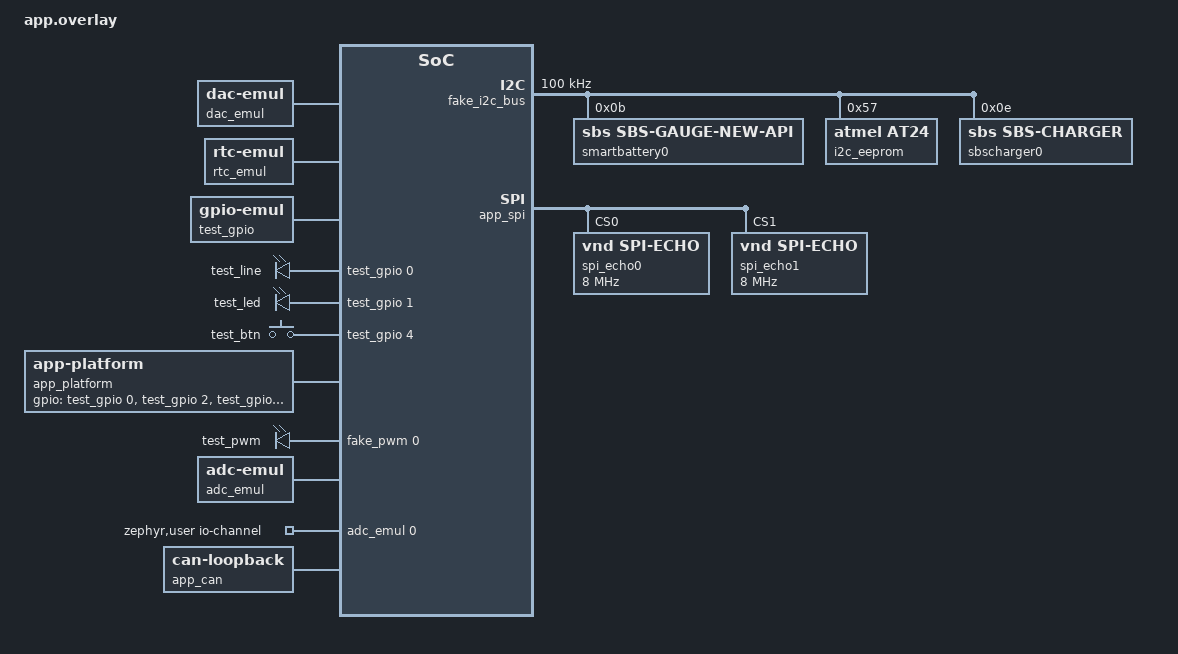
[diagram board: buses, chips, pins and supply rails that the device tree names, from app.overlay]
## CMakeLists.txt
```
# SPDX-License-Identifier: Apache-2.0

cmake_minimum_required(VERSION 3.20.0)
find_package(Zephyr REQUIRED HINTS $ENV{ZEPHYR_BASE})
project(app_platform_devices)

target_sources(app PRIVATE src/main.c src/display_capture.c src/locked_svc.c src/spi_echo.c)
target_include_directories(app PRIVATE ${ZEPHYR_BASE}/subsys/app_platform)
```

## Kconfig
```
# Copyright (c) 2026 Espressif Systems (Shanghai) Co., Ltd.
# SPDX-License-Identifier: Apache-2.0

config APP_PLATFORM_TEST_FAULT_POINTS
	default y

source "Kconfig.zephyr"
```

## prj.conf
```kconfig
CONFIG_ZTEST=y
CONFIG_USERSPACE=y
CONFIG_TASK_WDT=y
CONFIG_LOG=y
CONFIG_HEAP_MEM_POOL_SIZE=16384
CONFIG_MAIN_STACK_SIZE=4096
CONFIG_ZTEST_STACK_SIZE=4096

CONFIG_APP_PLATFORM=y
CONFIG_APP_PLATFORM_MAX_APPS=4
CONFIG_APP_PLATFORM_SERVICES=y

CONFIG_I2C=y
CONFIG_I2C_EMUL=y
CONFIG_EMUL=y
CONFIG_EEPROM=y
CONFIG_EEPROM_AT24=y
CONFIG_EEPROM_AT2X_EMUL=y
CONFIG_EEPROM_INIT_PRIORITY=75
CONFIG_DAC=y
CONFIG_RTC=y
CONFIG_REGULATOR=y
CONFIG_STEPPER=y
CONFIG_CHARGER=y
CONFIG_FUEL_GAUGE=y
CONFIG_GPIO=y
CONFIG_PWM=y
CONFIG_ADC=y
CONFIG_SENSOR=y
CONFIG_LED_STRIP=y
CONFIG_DISPLAY=y
# The capture display replaces the board's ramfb, so QEMU needs no window.
CONFIG_QEMU_RAMFB_DISPLAY=n
CONFIG_QEMU_EXTRA_FLAGS="-display none"

CONFIG_APP_PLATFORM_EEPROM=y
CONFIG_APP_PLATFORM_DAC=y
CONFIG_APP_PLATFORM_RTC=y
CONFIG_APP_PLATFORM_REGULATOR=y
CONFIG_APP_PLATFORM_STEPPER=y
CONFIG_APP_PLATFORM_POWER=y
CONFIG_APP_PLATFORM_GPIO=y
CONFIG_APP_PLATFORM_IO=y
CONFIG_APP_PLATFORM_EVENTS=y
CONFIG_APP_PLATFORM_PERIPH=y
CONFIG_APP_PLATFORM_MOTION=y
CONFIG_APP_PLATFORM_RGB=y
CONFIG_APP_PLATFORM_DISPLAY=y
CONFIG_SERIAL=y
CONFIG_UART_EMUL=y
CONFIG_UART_USE_RUNTIME_CONFIGURE=y
CONFIG_UART_INTERRUPT_DRIVEN=y
CONFIG_SPI=y
CONFIG_SPI_EMUL=y
CONFIG_APP_PLATFORM_BUS=y
CONFIG_CAN=y
CONFIG_APP_PLATFORM_CAN=y
CONFIG_APP_PLATFORM_CAN_LOOPBACK=y
CONFIG_APP_PLATFORM_DISPLAY_XFER_MAX=256
CONFIG_SHARED_MULTI_HEAP=y
CONFIG_APP_PLATFORM_PSRAM=y

CONFIG_FLASH=y
CONFIG_FLASH_MAP=y
CONFIG_FLASH_SIMULATOR=y
CONFIG_FILE_SYSTEM=y
CONFIG_FILE_SYSTEM_LITTLEFS=y
CONFIG_APP_PLATFORM_FS=y
CONFIG_APPLICATION_DEFINED_SYSCALL=y
```

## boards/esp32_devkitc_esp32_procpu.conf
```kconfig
# The ESP32 UART driver has no asynchronous API for the WS2812 backend.
CONFIG_LED_STRIP=n
CONFIG_APP_PLATFORM_RGB=n
```

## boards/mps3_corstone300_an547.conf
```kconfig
CONFIG_SPI_PL022=n
```

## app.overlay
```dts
/*
 * Copyright (c) 2026 Espressif Systems (Shanghai) Co., Ltd.
 *
 * SPDX-License-Identifier: Apache-2.0
 */

/* Emulated devices for the index-keyed device services. Real silicon for these
 * classes is rare on one board, so the suite drives emulated instances and
 * checks the platform's own behaviour: the capability gate, the per-instance
 * grant and the window arithmetic.
 */

#include <zephyr/dt-bindings/i2c/i2c.h>
#include <zephyr/dt-bindings/gpio/gpio.h>
#include <zephyr/dt-bindings/pwm/pwm.h>
#include <zephyr/dt-bindings/led/led.h>
#include <zephyr/dt-bindings/adc/adc.h>

/ {
	dac_emul: dac_emul {
		compatible = "zephyr,dac-emul";
		nchannels = <2>;
		#io-channel-cells = <1>;
		status = "okay";
	};

	rtc_emul: rtc_emul {
		compatible = "zephyr,rtc-emul";
		status = "okay";
	};

	fake_regulator: fake_regulator {
		compatible = "zephyr,fake-regulator";

		fake_reg0: FAKEREG0 {};
	};

	fake_stepper: fake-stepper-controller {
		compatible = "zephyr,fake-stepper-ctrl";
		status = "okay";
	};

	test_gpio: test_gpio {
		compatible = "zephyr,gpio-emul";
		gpio-controller;
		#gpio-cells = <2>;
		ngpios = <8>;
		rising-edge;
		falling-edge;
		high-level;
		low-level;
		status = "okay";
	};

	leds {
		compatible = "gpio-leds";

		test_line: test_line {
			gpios = <&test_gpio 0 GPIO_ACTIVE_HIGH>;
		};

		test_led: test_led {
			gpios = <&test_gpio 1 GPIO_ACTIVE_HIGH>;
		};
	};

	buttons {
		compatible = "gpio-keys";

		test_btn: test_btn {
			gpios = <&test_gpio 4 GPIO_ACTIVE_HIGH>;
		};
	};

	app_platform {
		compatible = "zephyr,app-platform";
		gpios = <&test_gpio 0 GPIO_ACTIVE_HIGH>, <&test_gpio 2 GPIO_ACTIVE_HIGH>,
			<&test_gpio 3 GPIO_ACTIVE_LOW>;
		line-names = "test_line", "test_in", "test_low";
		dacs = <&dac_emul>;
		regulators = <&fake_reg0>;
		steppers = <&fake_stepper>;
	};

	fake_pwm: fake_pwm {
		compatible = "zephyr,fake-pwm";
		#pwm-cells = <2>;
		frequency = <1000000>;
		status = "okay";
	};

	/* Stands in for the motor-control PWM the motor service looks up. */
	mcpwm0: fake_mcpwm {
		compatible = "zephyr,fake-pwm";
		#pwm-cells = <2>;
		frequency = <1000000>;
		status = "okay";
	};

	pwmleds {
		compatible = "pwm-leds";

		test_pwm: test_pwm {
			pwms = <&fake_pwm 0 PWM_MSEC(1)>;
		};
	};

	/* Captures the frames the WS2812 driver writes to the strip. */
	strip_uart: strip_uart {
		compatible = "vnd,serial";
		current-speed = <2500000>;
		data-bits = <7>;
		tx-invert;
		buffer-size = <1024>;
		status = "okay";

		test_strip: ws2812 {
			compatible = "worldsemi,ws2812-uart";
			one-symbol = <6>;
			zero-symbol = <4>;
			bits-per-symbol = <3>;
			chain-length = <2>;
			reset-delay = <50>;
			color-mapping = <LED_COLOR_ID_GREEN
					 LED_COLOR_ID_RED
					 LED_COLOR_ID_BLUE>;
			status = "okay";
		};
	};

	capture_display: capture_display {
		compatible = "vnd,display-capture";
		width = <160>;
		height = <24>;
		status = "okay";
	};

	adc_emul: adc_emul {
		compatible = "zephyr,adc-emul";
		nchannels = <1>;
		ref-internal-mv = <3300>;
		#io-channel-cells = <1>;
		#address-cells = <1>;
		#size-cells = <0>;
		status = "okay";

		channel@0 {
			reg = <0>;
			zephyr,gain = "ADC_GAIN_1";
			zephyr,reference = "ADC_REF_INTERNAL";
			zephyr,acquisition-time = <ADC_ACQ_TIME_DEFAULT>;
			zephyr,resolution = <12>;
		};
	};

	zephyr,user {
		io-channels = <&adc_emul 0>;
	};

	aliases {
		led0 = &test_led;
		sw0 = &test_btn;
		app-pwm0 = &test_pwm;
		led-strip = &test_strip;
		app-i2c = &fake_i2c_bus;
		app-spi = &app_spi;
	};

	fake_i2c_bus: i2c@100 {
		status = "okay";
		compatible = "zephyr,i2c-emul-controller";
		clock-frequency = <I2C_BITRATE_STANDARD>;
		#address-cells = <1>;
		#size-cells = <0>;
		reg = <0x100 4>;

		smartbattery0: smartbattery@b {
			compatible = "sbs,sbs-gauge-new-api";
			reg = <0x0b>;
			status = "okay";
		};

		i2c_eeprom: eeprom@57 {
			compatible = "atmel,at24";
			reg = <0x57>;
			size = <256>;
			pagesize = <8>;
			address-width = <8>;
			timeout = <5>;
			status = "okay";
		};

		sbscharger0: sbscharger@e {
			compatible = "sbs,sbs-charger";
			reg = <0x0e>;
			status = "okay";
		};
	};

	app_uart: app_uart {
		compatible = "zephyr,uart-emul";
		current-speed = <115200>;
		status = "okay";
	};

	app_spi: spi@200 {
		compatible = "zephyr,spi-emul-controller";
		reg = <0x200 4>;
		#address-cells = <1>;
		#size-cells = <0>;
		status = "okay";

		spi_echo0: echo@0 {
			compatible = "vnd,spi-echo";
			reg = <0>;
			spi-max-frequency = <8000000>;
		};

		spi_echo1: echo@1 {
			compatible = "vnd,spi-echo";
			reg = <1>;
			spi-max-frequency = <8000000>;
		};
	};

	app_can: can_loopback {
		compatible = "zephyr,can-loopback";
		status = "okay";
	};

	chosen {
		zephyr,canbus = &app_can;
		app,uart = &app_uart;
		zephyr,eeprom = &i2c_eeprom;
		zephyr,rtc = &rtc_emul;
		zephyr,fuel-gauge = &smartbattery0;
		zephyr,charger = &sbscharger0;
		zephyr,display = &capture_display;
	};
};
```

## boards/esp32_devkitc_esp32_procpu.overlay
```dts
/*
 * Copyright (c) 2026 Espressif Systems (Shanghai) Co., Ltd.
 *
 * SPDX-License-Identifier: Apache-2.0
 */

/* The suite stands in its own motor-control PWM for the SoC one. */
/delete-node/ &mcpwm0;

#include "../app.overlay"

/* The WS2812 UART backend needs the asynchronous UART API, which the ESP32
 * UART driver does not support.
 */
/delete-node/ &strip_uart;

/ {
	aliases {
		/delete-property/ led-strip;
	};
};
```

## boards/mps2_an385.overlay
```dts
/*
 * Copyright (c) 2026 Espressif Systems (Shanghai) Co., Ltd.
 *
 * SPDX-License-Identifier: Apache-2.0
 */

#include "../app.overlay"
```

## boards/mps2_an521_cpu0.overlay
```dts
/*
 * Copyright (c) 2026 Espressif Systems (Shanghai) Co., Ltd.
 *
 * SPDX-License-Identifier: Apache-2.0
 */

#include <mem.h>
#include "../app.overlay"
#include "sim_flash.dtsi"
```

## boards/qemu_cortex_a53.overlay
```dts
/*
 * Copyright (c) 2026 Espressif Systems (Shanghai) Co., Ltd.
 *
 * SPDX-License-Identifier: Apache-2.0
 */

#include <mem.h>
#include "../app.overlay"
#include "sim_flash.dtsi"

/* The root node has two address cells here. */
&fake_i2c_bus {
	reg = <0x0 0x100 0x0 0x4>;
};

&app_spi {
	reg = <0x0 0x200 0x0 0x4>;
};
```

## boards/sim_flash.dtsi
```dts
/*
 * Copyright (c) 2026 Espressif Systems (Shanghai) Co., Ltd.
 *
 * SPDX-License-Identifier: Apache-2.0
 */

/* A RAM-backed flash with the storage partition, for boards that have none. */
/ {
	app_sim_flash: app_sim_flash {
		compatible = "zephyr,sim-flash";
		#address-cells = <1>;
		#size-cells = <1>;
		erase-value = <0xff>;

		flash_sim@0 {
			compatible = "soc-nv-flash";
			reg = <0x00000000 DT_SIZE_K(256)>;
			erase-block-size = <1024>;
			write-block-size = <4>;

			partitions {
				ranges;
				#address-cells = <1>;
				#size-cells = <1>;

				storage_partition: partition@0 {
					compatible = "zephyr,mapped-partition";
					label = "storage";
					reg = <0x00000000 DT_SIZE_K(256)>;
				};
			};
		};
	};
};
```

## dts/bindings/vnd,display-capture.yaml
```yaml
# Copyright (c) 2026 Espressif Systems (Shanghai) Co., Ltd.
# SPDX-License-Identifier: Apache-2.0

description: RGB565 display that keeps its frame in RAM for the test to inspect

compatible: "vnd,display-capture"

include: display-controller.yaml
```

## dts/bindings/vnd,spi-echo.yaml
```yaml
# Copyright (c) 2026 Espressif Systems (Shanghai) Co., Ltd.
# SPDX-License-Identifier: Apache-2.0

description: SPI device that echoes what it receives and keeps the last configuration

compatible: "vnd,spi-echo"

include: spi-device.yaml
```

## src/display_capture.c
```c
/*
 * Copyright (c) 2026 Espressif Systems (Shanghai) Co., Ltd.
 *
 * SPDX-License-Identifier: Apache-2.0
 */

/* A display that keeps its RGB565 frame in RAM, so the test can read back what
 * the display service wrote, count the driver calls it made and report
 * refreshes when it chooses.
 */

#define DT_DRV_COMPAT vnd_display_capture

#include <zephyr/device.h>
#include <zephyr/drivers/display.h>
#include <errno.h>
#include <string.h>

#include "display_capture.h"

uint16_t capture_fb[CAPTURE_H][CAPTURE_W];
uint32_t capture_writes;

static display_event_cb_t capture_cb;
static void *capture_user_data;

static int capture_write(const struct device *dev, const uint16_t x, const uint16_t y,
			 const struct display_buffer_descriptor *desc, const void *buf)
{
	const uint16_t *src = buf;

	ARG_UNUSED(dev);

	if ((uint32_t)x + desc->width > CAPTURE_W || (uint32_t)y + desc->height > CAPTURE_H ||
	    desc->pitch < desc->width) {
		return -EINVAL;
	}
	for (uint16_t r = 0U; r < desc->height; r++) {
		memcpy(&capture_fb[y + r][x], &src[r * desc->pitch],
		       desc->width * sizeof(uint16_t));
	}
	capture_writes++;
	return 0;
}

static void capture_get_capabilities(const struct device *dev, struct display_capabilities *caps)
{
	ARG_UNUSED(dev);

	caps->x_resolution = CAPTURE_W;
	caps->y_resolution = CAPTURE_H;
	caps->supported_pixel_formats = PIXEL_FORMAT_RGB_565;
	caps->current_pixel_format = PIXEL_FORMAT_RGB_565;
	caps->supported_events = DISPLAY_EVENT_VSYNC;
}

static int capture_register_event_cb(const struct device *dev, display_event_cb_t cb,
				     void *user_data, uint32_t event_mask, bool in_isr,
				     uint32_t *out_reg_handle)
{
	ARG_UNUSED(dev);
	ARG_UNUSED(event_mask);
	ARG_UNUSED(in_isr);

	capture_cb = cb;
	capture_user_data = user_data;
	*out_reg_handle = 0U;
	return 0;
}

void capture_vsync(void)
{
	const struct display_event_data evt = { 0 };

	if (capture_cb != NULL) {
		(void)capture_cb(DEVICE_DT_INST_GET(0), DISPLAY_EVENT_VSYNC, &evt,
				 capture_user_data);
	}
}

static DEVICE_API(display, capture_api) = {
	.write = capture_write,
	.get_capabilities = capture_get_capabilities,
	.register_event_cb = capture_register_event_cb,
};

DEVICE_DT_INST_DEFINE(0, NULL, NULL, NULL, NULL, POST_KERNEL, CONFIG_DISPLAY_INIT_PRIORITY,
		      &capture_api);
```

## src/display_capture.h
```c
/*
 * Copyright (c) 2026 Espressif Systems (Shanghai) Co., Ltd.
 *
 * SPDX-License-Identifier: Apache-2.0
 */

#ifndef APP_PLATFORM_DEVICES_DISPLAY_CAPTURE_H_
#define APP_PLATFORM_DEVICES_DISPLAY_CAPTURE_H_

#include <zephyr/devicetree.h>
#include <stdint.h>

#define CAPTURE_NODE DT_CHOSEN(zephyr_display)
#define CAPTURE_W    DT_PROP(CAPTURE_NODE, width)
#define CAPTURE_H    DT_PROP(CAPTURE_NODE, height)

extern uint16_t capture_fb[CAPTURE_H][CAPTURE_W];
extern uint32_t capture_writes;

/* Report a refresh to the registered event callback, as a panel would. */
void capture_vsync(void);

#endif /* APP_PLATFORM_DEVICES_DISPLAY_CAPTURE_H_ */
```

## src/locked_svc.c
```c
/*
 * Copyright (c) 2026 Espressif Systems (Shanghai) Co., Ltd.
 *
 * SPDX-License-Identifier: Apache-2.0
 */

#include <zephyr/kernel.h>
#include <zephyr/internal/syscall_handler.h>
#include <zephyr/app_platform/app_platform.h>

#include "app_grants.h"
#include "locked_svc.h"

static SVC_LOCK_DEFINE(test_lock);
static atomic_t hook_runs;

static SVC_LOCK_DEFINE(hold_lock);
static K_SEM_DEFINE(hold_go, 0, 1);
static atomic_t hold_taken;
static atomic_t psram_fault;

int z_impl_test_svc_locked(int fault)
{
	int rc = app_service_lock(&test_lock, SVC_LOCK_TIMEOUT);

	if (rc != 0) {
		return rc;
	}
	if (fault != 0) {
		k_oops();
	}
	(void)app_service_unlock(&test_lock);
	return 0;
}

#ifdef CONFIG_USERSPACE
static inline int z_vrfy_test_svc_locked(int fault)
{
	return z_impl_test_svc_locked(fault);
}
#include <zephyr/syscalls/test_svc_locked_mrsh.c>
#endif

static void locked_hook(int id)
{
	ARG_UNUSED(id);

	if (app_service_lock(&test_lock, K_FOREVER) == 0) {
		(void)app_service_unlock(&test_lock);
	}
	atomic_inc(&hook_runs);
}

int test_svc_locked_hook_register(void)
{
	return app_platform_on_reclaim(locked_hook);
}

int test_svc_locked_hook_runs(void)
{
	return (int)atomic_get(&hook_runs);
}

int z_impl_test_svc_hold(int mode)
{
	int rc = app_service_lock(&hold_lock,
				  (mode == TEST_HOLD_WAIT) ? K_FOREVER : SVC_LOCK_TIMEOUT);

	if (rc != 0) {
		return rc;
	}
	if (mode == TEST_HOLD_OWN) {
		atomic_set(&hold_taken, 1);
		(void)k_sem_take(&hold_go, K_FOREVER);
	}
	(void)app_service_unlock(&hold_lock);
	return 0;
}

#ifdef CONFIG_USERSPACE
static inline int z_vrfy_test_svc_hold(int mode)
{
	return z_impl_test_svc_hold(mode);
}
#include <zephyr/syscalls/test_svc_hold_mrsh.c>
#endif

void test_svc_hold_release(void)
{
	k_sem_give(&hold_go);
}

bool test_svc_hold_taken(void)
{
	return atomic_get(&hold_taken) != 0;
}

void test_psram_fault_arm(void)
{
	atomic_set(&psram_fault, 1);
}

bool test_psram_fault_armed(void)
{
	return atomic_get(&psram_fault) != 0;
}

void app_platform_test_point(int point)
{
	if (point == APP_TEST_POINT_PSRAM_MAP && atomic_cas(&psram_fault, 1, 0)) {
		k_oops();
	}
}
```

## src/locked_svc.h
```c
/*
 * Copyright (c) 2026 Espressif Systems (Shanghai) Co., Ltd.
 *
 * SPDX-License-Identifier: Apache-2.0
 */

#ifndef LOCKED_SVC_H_
#define LOCKED_SVC_H_

#include <zephyr/kernel.h>

/* A service that takes a service lock and, when asked, faults while holding it. */
__syscall int test_svc_locked(int fault);

int test_svc_locked_hook_register(void);
int test_svc_locked_hook_runs(void);

#define TEST_HOLD_OWN  0 /* take the lock and keep it until released */
#define TEST_HOLD_WAIT 1 /* wait for the lock with no timeout */
#define TEST_HOLD_USE  2 /* take the lock and give it back */

/* A service whose lock one application keeps while others wait for it. */
__syscall int test_svc_hold(int mode);

void test_svc_hold_release(void);
bool test_svc_hold_taken(void);

/* Make the next external RAM mapping fault while it holds the service lock. */
void test_psram_fault_arm(void);
bool test_psram_fault_armed(void);

#include <zephyr/syscalls/locked_svc.h>

#endif /* LOCKED_SVC_H_ */
```

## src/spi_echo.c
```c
/*
 * Copyright (c) 2026 Espressif Systems (Shanghai) Co., Ltd.
 *
 * SPDX-License-Identifier: Apache-2.0
 */

/* An emulated SPI device that clocks back the bytes it receives, so the test
 * sees which chip select and configuration a transfer used.
 */

#define DT_DRV_COMPAT vnd_spi_echo

#include <zephyr/device.h>
#include <zephyr/drivers/emul.h>
#include <zephyr/drivers/spi.h>
#include <zephyr/drivers/spi_emul.h>
#include <string.h>

#include "spi_echo.h"

struct spi_echo_data {
	struct spi_config last;
	bool used;
};

static int spi_echo_io(const struct emul *target, const struct spi_config *config,
		       const struct spi_buf_set *tx_bufs, const struct spi_buf_set *rx_bufs)
{
	struct spi_echo_data *data = target->data;
	const uint8_t *tx = NULL;
	size_t tx_len = 0;

	data->last = *config;
	data->used = true;
	if (tx_bufs != NULL && tx_bufs->count > 0) {
		tx = tx_bufs->buffers[0].buf;
		tx_len = tx_bufs->buffers[0].len;
	}
	if (rx_bufs != NULL && rx_bufs->count > 0) {
		uint8_t *rx = rx_bufs->buffers[0].buf;

		for (size_t i = 0; i < rx_bufs->buffers[0].len; i++) {
			rx[i] = (i < tx_len) ? tx[i] : 0U;
		}
	}
	return 0;
}

static const struct spi_emul_api spi_echo_api = {
	.io = spi_echo_io,
};

static int spi_echo_emul_init(const struct emul *target, const struct device *parent)
{
	ARG_UNUSED(target);
	ARG_UNUSED(parent);
	return 0;
}

static int spi_echo_dev_init(const struct device *dev)
{
	ARG_UNUSED(dev);
	return 0;
}

#define SPI_ECHO(n)                                                                        \
	static struct spi_echo_data spi_echo_data_##n;                                     \
	EMUL_DT_INST_DEFINE(n, spi_echo_emul_init, &spi_echo_data_##n, NULL, &spi_echo_api, \
			    NULL);                                                         \
	DEVICE_DT_INST_DEFINE(n, spi_echo_dev_init, NULL, NULL, NULL, POST_KERNEL,          \
			      CONFIG_KERNEL_INIT_PRIORITY_DEVICE, NULL);

DT_INST_FOREACH_STATUS_OKAY(SPI_ECHO)

#define SPI_ECHO_REF(n) [DT_INST_REG_ADDR(n)] = &spi_echo_data_##n,

static struct spi_echo_data *const spi_echo_by_cs[] = {
	DT_INST_FOREACH_STATUS_OKAY(SPI_ECHO_REF)
};

const struct spi_config *spi_echo_last(int cs)
{
	if (cs < 0 || cs >= (int)ARRAY_SIZE(spi_echo_by_cs) || spi_echo_by_cs[cs] == NULL ||
	    !spi_echo_by_cs[cs]->used) {
		return NULL;
	}
	return &spi_echo_by_cs[cs]->last;
}
```

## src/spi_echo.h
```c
/*
 * Copyright (c) 2026 Espressif Systems (Shanghai) Co., Ltd.
 *
 * SPDX-License-Identifier: Apache-2.0
 */

#ifndef APP_PLATFORM_DEVICES_SPI_ECHO_H_
#define APP_PLATFORM_DEVICES_SPI_ECHO_H_

#include <zephyr/drivers/spi.h>

/* The configuration of the last transfer the echo device at @p cs took, or
 * NULL when it took none.
 */
const struct spi_config *spi_echo_last(int cs);

#endif /* APP_PLATFORM_DEVICES_SPI_ECHO_H_ */
```
